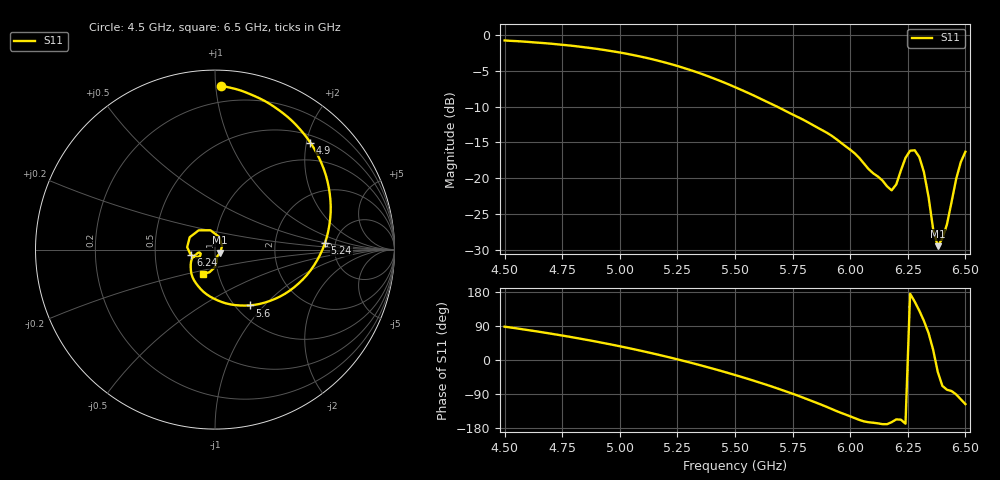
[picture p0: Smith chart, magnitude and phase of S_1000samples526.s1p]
! TOUCHSTONE file generated by CST MICROWAVE STUDIO
! Date and time: Fri Oct 28 11:28:38 2022
! Project name: L.cst
! Parameters = {Di=1.27; Epsilon_r=1.56; InnerDiameter=1.27; Length=2; Lf=10; Lg=60; OuterConductorThickness=0.2921; OuterDiameter=3.6; Wf=3; Wp=41.2; de=1.5; df=6.8; g=0.8; gx=3.95221; gy=3.38818; h=2.34; hf=1.524; px=14.6566; py=9.26339; w=9.7; wx=10.7044; wy=5.87521}
! Header version: 2018
! Port assignment regex: !\s*Touchstone port\s*([0-9]+)\s*=\s*(CST MWS port|CST DS port)\s*([0-9]+|Zmin|Zmax)\s*\(\"(.*)\"\)(\s*mode\s*([0-9]+))?.*
! Touchstone port assignment:
! Touchstone port 1 = CST MWS port 1 ("")
# GHz S DB R 50
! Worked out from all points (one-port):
!   101 points, 4.5 GHz to 6.5 GHz, reference 50 ohm
!   lowest |S11| = -29.5 dB at 6.38 GHz (marker M1), VSWR 1.07, Z = 52.9 - j1.85 ohm
!   |S11| at or under -10 dB: 5.682 GHz to end of sweep
!   S11 on the Smith chart (normalised r, x): 4.5 GHz: 0.09, +1.03; 4.9 GHz: 0.63, +2.08; 5.24 GHz: 4.12, +0.46; 5.6 GHz: 1.16, -0.83; 6.24 GHz: 0.76, -0.04; 6.5 GHz: 0.84, -0.24
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4.5  -0.78 87.9
4.64  -1.08 75.4
4.76  -1.42 63.5
4.9  -1.95 48.2
5  -2.46 36.2
5.12  -3.24 20.5
5.24  -4.25 3.3
5.26  -4.44 0.2
5.38  -5.74 -18.8
5.5  -7.29 -39.6
5.6  -8.74 -58.3
5.76  -11.26 -91.2
5.9  -13.67 -124.2
6  -16.01 -148.6
6.08  -18.71 -164.3
6.18  -21.67 -164.0
6.2  -20.84 -156.7
6.24  -17.15 -168.1
6.26  -16.15 174.9
6.28  -16.09 154.0
6.3  -17.04 130.1
6.32  -19.13 103.2
6.34  -22.57 71.3
6.36  -27.08 27.1
6.38  -29.45 -31.3
6.42  -26.41 -78.5
6.46  -20.09 -90.9
6.5  -16.30 -116.4
